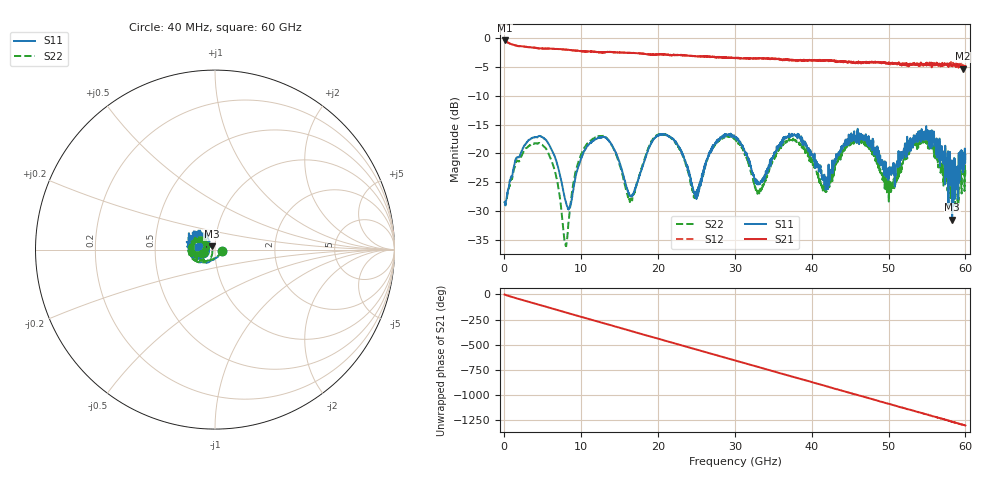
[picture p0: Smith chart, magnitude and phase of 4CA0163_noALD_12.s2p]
! File created by 'SoftPlot +Plus+ Measurement Management Software'
! SoftPlot +Plus+ Measurement Management Software
! Start 40.000000 MHz  Stop 60.000000 GHz  Points 1601
# MHZ S RI R 50
! S-Parameter data, F S11 S21 S12 S22
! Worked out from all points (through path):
!   1601 points, 40 MHz to 60 GHz, reference 50 ohm
!   highest |S21| = -0.36 dB at 40 MHz (marker M1); lowest = -5.3 dB at 59.66 GHz (marker M2)
!   group delay of S21, straight-line fit = 60 ps
!   lowest |S11| = -31.6 dB at 58.28 GHz (marker M3), VSWR 1.05, Z = 48.1 + j1.81 ohm
!   |S11| at or under -10 dB: start of sweep to end of sweep
!   |S22| runs from -36.2 to -16.6 dB; largest |S21 - S12| = 0.057
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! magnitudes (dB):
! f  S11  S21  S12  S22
! 40 MHz  -28.5  -0.4  -0.4  -28.4
! 1.576 GHz  -20.8  -1.3  -1.3  -21.5
! 4.799 GHz  -17.1  -1.7  -1.7  -18.4
! 6.598 GHz  -20.7  -1.8  -1.8  -23.2
! 7.985 GHz  -28.3  -2.0  -1.9  -36.1
! 10.05 GHz  -20.8  -2.3  -2.2  -20.0
! 13.23 GHz  -17.3  -2.4  -2.4  -17.2
! 16.49 GHz  -27.5  -2.5  -2.5  -27.9
! 20.05 GHz  -16.9  -2.8  -2.7  -16.8
! 24.85 GHz  -27.6  -3.1  -3.1  -27.9
! 27.32 GHz  -18.5  -3.2  -3.2  -18.6
! 30.02 GHz  -17.1  -3.4  -3.3  -17.6
! 33.02 GHz  -25.1  -3.5  -3.5  -26.5
! 36.77 GHz  -17.1  -3.7  -3.6  -17.9
! 40.03 GHz  -20.3  -3.8  -3.8  -21.3
! 41.94 GHz  -24.7  -3.8  -3.9  -26.5
! 46.4 GHz  -17.6  -4.3  -4.2  -17.9
! 50.03 GHz  -24.5  -4.4  -4.1  -28.4
! 54.57 GHz  -17.3  -4.4  -4.7  -17.8
! 58.28 GHz  -31.6  -4.7  -4.7  -27.9
! 59.66 GHz  -23.3  -5.3  -5.1  -23.3
! 60 GHz  -20.3  -4.8  -5.0  -22.9
